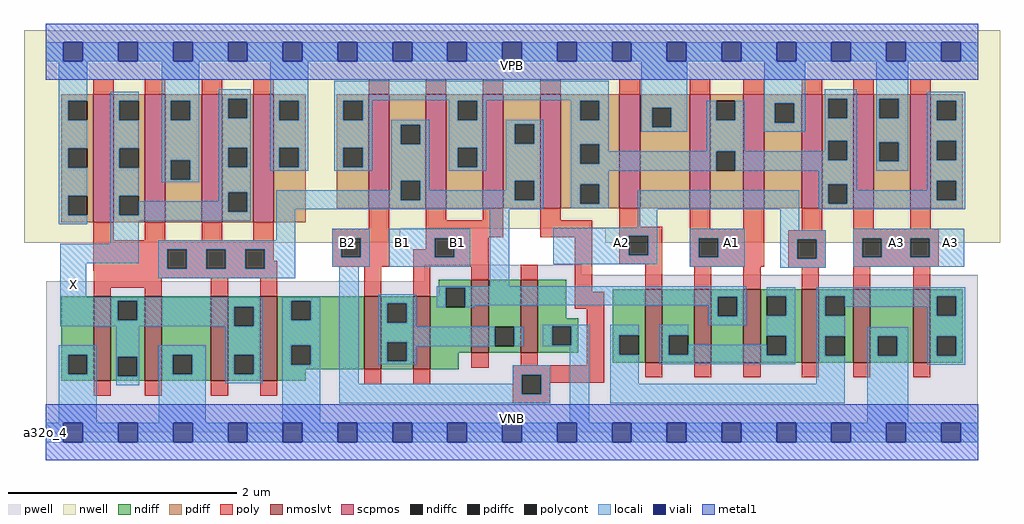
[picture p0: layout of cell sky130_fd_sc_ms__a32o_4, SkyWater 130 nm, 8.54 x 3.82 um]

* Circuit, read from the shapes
.subckt sky130_fd_sc_ms__a32o_4 A1 A2 A3 B1 B2 VGND VNB VPB VPWR X
XM1 X n1 VGND VNB sky130_fd_pr__nfet_01v8_lvt w=0.74 l=0.15 m=4
XM2 n2 B2 VGND VNB sky130_fd_pr__nfet_01v8_lvt w=0.64 l=0.15 m=2
XM3 n1 B1 n2 VNB sky130_fd_pr__nfet_01v8_lvt w=0.64 l=0.15 m=2
XM4 n3 A2 n4 VNB sky130_fd_pr__nfet_01v8_lvt w=0.64 l=0.15 m=2
XM5 n1 A1 n3 VNB sky130_fd_pr__nfet_01v8_lvt w=0.64 l=0.15 m=2
XM6 VGND A3 n4 VNB sky130_fd_pr__nfet_01v8_lvt w=0.64 l=0.15 m=2
XM7 X n1 VPWR VPB sky130_fd_pr__pfet_01v8 w=1.12 l=0.18 m=4
XM8 n1 B2 n5 VPB sky130_fd_pr__pfet_01v8 w=1 l=0.18 m=2
XM9 n5 B1 n1 VPB sky130_fd_pr__pfet_01v8 w=1 l=0.18 m=2
XM10 VPWR A2 n5 VPB sky130_fd_pr__pfet_01v8 w=1 l=0.18 m=2
XM11 n5 A1 VPWR VPB sky130_fd_pr__pfet_01v8 w=1 l=0.18 m=2
XM12 VPWR A3 n5 VPB sky130_fd_pr__pfet_01v8 w=1 l=0.18 m=2
.ends

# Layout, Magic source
magic
tech sky130A
magscale 1 2
<< nwell >>
rect -38 356 1670 704
rect -38 332 620 356
rect 979 332 1670 356
<< pwell >>
rect 662 276 937 293
rect 662 264 1631 276
rect 1 49 1631 264
rect 0 0 1632 49
<< scpmos >>
rect 83 368 119 592
rect 173 368 209 592
rect 273 368 309 592
rect 363 368 399 592
rect 565 392 601 592
rect 665 392 701 592
rect 765 392 801 592
rect 865 392 901 592
rect 1004 392 1040 592
rect 1127 392 1163 592
rect 1221 392 1257 592
rect 1323 392 1359 592
rect 1413 392 1449 592
rect 1513 392 1549 592
<< nmoslvt >>
rect 84 90 114 238
rect 173 90 203 238
rect 289 90 319 238
rect 375 90 405 238
rect 557 110 587 238
rect 643 110 673 238
rect 745 139 775 267
rect 831 139 861 267
rect 1049 122 1079 250
rect 1135 122 1165 250
rect 1221 122 1251 250
rect 1323 122 1353 250
rect 1413 122 1443 250
rect 1518 122 1548 250
<< ndiff >>
rect 688 253 745 267
rect 688 238 700 253
rect 27 136 84 238
rect 27 102 39 136
rect 73 102 84 136
rect 27 90 84 102
rect 114 230 173 238
rect 114 196 126 230
rect 160 196 173 230
rect 114 132 173 196
rect 114 98 126 132
rect 160 98 173 132
rect 114 90 173 98
rect 203 136 289 238
rect 203 102 222 136
rect 256 102 289 136
rect 203 90 289 102
rect 319 220 375 238
rect 319 186 330 220
rect 364 186 375 220
rect 319 136 375 186
rect 319 102 330 136
rect 364 102 375 136
rect 319 90 375 102
rect 405 230 557 238
rect 405 196 430 230
rect 464 196 557 230
rect 405 152 557 196
rect 405 118 430 152
rect 464 118 557 152
rect 405 110 557 118
rect 587 226 643 238
rect 587 192 598 226
rect 632 192 643 226
rect 587 158 643 192
rect 587 124 598 158
rect 632 124 643 158
rect 587 110 643 124
rect 673 219 700 238
rect 734 219 745 253
rect 673 139 745 219
rect 775 185 831 267
rect 775 151 786 185
rect 820 151 831 185
rect 775 139 831 151
rect 861 200 911 267
rect 861 186 932 200
rect 861 152 886 186
rect 920 152 932 186
rect 861 139 932 152
rect 673 110 723 139
rect 992 170 1049 250
rect 992 136 1004 170
rect 1038 136 1049 170
rect 992 122 1049 136
rect 1079 170 1135 250
rect 1079 136 1090 170
rect 1124 136 1135 170
rect 1079 122 1135 136
rect 1165 237 1221 250
rect 1165 203 1176 237
rect 1210 203 1221 237
rect 1165 122 1221 203
rect 1251 238 1323 250
rect 1251 204 1262 238
rect 1296 204 1323 238
rect 1251 169 1323 204
rect 1251 135 1262 169
rect 1296 135 1323 169
rect 1251 122 1323 135
rect 1353 238 1413 250
rect 1353 204 1364 238
rect 1398 204 1413 238
rect 1353 168 1413 204
rect 1353 134 1364 168
rect 1398 134 1413 168
rect 1353 122 1413 134
rect 1443 168 1518 250
rect 1443 134 1456 168
rect 1490 134 1518 168
rect 1443 122 1518 134
rect 1548 238 1605 250
rect 1548 204 1559 238
rect 1593 204 1605 238
rect 1548 168 1605 204
rect 1548 134 1559 168
rect 1593 134 1605 168
rect 1548 122 1605 134
rect 405 90 455 110
<< pdiff >>
rect 27 580 83 592
rect 27 546 39 580
rect 73 546 83 580
rect 27 497 83 546
rect 27 463 39 497
rect 73 463 83 497
rect 27 414 83 463
rect 27 380 39 414
rect 73 380 83 414
rect 27 368 83 380
rect 119 580 173 592
rect 119 546 129 580
rect 163 546 173 580
rect 119 497 173 546
rect 119 463 129 497
rect 163 463 173 497
rect 119 414 173 463
rect 119 380 129 414
rect 163 380 173 414
rect 119 368 173 380
rect 209 580 273 592
rect 209 546 219 580
rect 253 546 273 580
rect 209 476 273 546
rect 209 442 219 476
rect 253 442 273 476
rect 209 368 273 442
rect 309 584 363 592
rect 309 550 319 584
rect 353 550 363 584
rect 309 498 363 550
rect 309 464 319 498
rect 353 464 363 498
rect 309 420 363 464
rect 309 386 319 420
rect 353 386 363 420
rect 309 368 363 386
rect 399 580 455 592
rect 399 546 409 580
rect 443 546 455 580
rect 399 498 455 546
rect 399 464 409 498
rect 443 464 455 498
rect 399 368 455 464
rect 509 580 565 592
rect 509 546 521 580
rect 555 546 565 580
rect 509 498 565 546
rect 509 464 521 498
rect 555 464 565 498
rect 509 392 565 464
rect 601 538 665 592
rect 601 504 621 538
rect 655 504 665 538
rect 601 440 665 504
rect 601 406 621 440
rect 655 406 665 440
rect 601 392 665 406
rect 701 580 765 592
rect 701 546 721 580
rect 755 546 765 580
rect 701 498 765 546
rect 701 464 721 498
rect 755 464 765 498
rect 701 392 765 464
rect 801 539 865 592
rect 801 505 821 539
rect 855 505 865 539
rect 801 440 865 505
rect 801 406 821 440
rect 855 406 865 440
rect 801 392 865 406
rect 901 580 1004 592
rect 901 546 935 580
rect 969 546 1004 580
rect 901 504 1004 546
rect 901 470 935 504
rect 969 470 1004 504
rect 901 434 1004 470
rect 901 400 935 434
rect 969 400 1004 434
rect 901 392 1004 400
rect 1040 568 1127 592
rect 1040 534 1061 568
rect 1095 534 1127 568
rect 1040 392 1127 534
rect 1163 580 1221 592
rect 1163 546 1173 580
rect 1207 546 1221 580
rect 1163 492 1221 546
rect 1163 458 1173 492
rect 1207 458 1221 492
rect 1163 392 1221 458
rect 1257 576 1323 592
rect 1257 542 1276 576
rect 1310 542 1323 576
rect 1257 392 1323 542
rect 1359 584 1413 592
rect 1359 550 1369 584
rect 1403 550 1413 584
rect 1359 510 1413 550
rect 1359 476 1369 510
rect 1403 476 1413 510
rect 1359 434 1413 476
rect 1359 400 1369 434
rect 1403 400 1413 434
rect 1359 392 1413 400
rect 1449 584 1513 592
rect 1449 550 1459 584
rect 1493 550 1513 584
rect 1449 508 1513 550
rect 1449 474 1459 508
rect 1493 474 1513 508
rect 1449 392 1513 474
rect 1549 580 1605 592
rect 1549 546 1559 580
rect 1593 546 1605 580
rect 1549 510 1605 546
rect 1549 476 1559 510
rect 1593 476 1605 510
rect 1549 440 1605 476
rect 1549 406 1559 440
rect 1593 406 1605 440
rect 1549 392 1605 406
<< ndiffc >>
rect 39 102 73 136
rect 126 196 160 230
rect 126 98 160 132
rect 222 102 256 136
rect 330 186 364 220
rect 330 102 364 136
rect 430 196 464 230
rect 430 118 464 152
rect 598 192 632 226
rect 598 124 632 158
rect 700 219 734 253
rect 786 151 820 185
rect 886 152 920 186
rect 1004 136 1038 170
rect 1090 136 1124 170
rect 1176 203 1210 237
rect 1262 204 1296 238
rect 1262 135 1296 169
rect 1364 204 1398 238
rect 1364 134 1398 168
rect 1456 134 1490 168
rect 1559 204 1593 238
rect 1559 134 1593 168
<< pdiffc >>
rect 39 546 73 580
rect 39 463 73 497
rect 39 380 73 414
rect 129 546 163 580
rect 129 463 163 497
rect 129 380 163 414
rect 219 546 253 580
rect 219 442 253 476
rect 319 550 353 584
rect 319 464 353 498
rect 319 386 353 420
rect 409 546 443 580
rect 409 464 443 498
rect 521 546 555 580
rect 521 464 555 498
rect 621 504 655 538
rect 621 406 655 440
rect 721 546 755 580
rect 721 464 755 498
rect 821 505 855 539
rect 821 406 855 440
rect 935 546 969 580
rect 935 470 969 504
rect 935 400 969 434
rect 1061 534 1095 568
rect 1173 546 1207 580
rect 1173 458 1207 492
rect 1276 542 1310 576
rect 1369 550 1403 584
rect 1369 476 1403 510
rect 1369 400 1403 434
rect 1459 550 1493 584
rect 1459 474 1493 508
rect 1559 546 1593 580
rect 1559 476 1593 510
rect 1559 406 1593 440
<< poly >>
rect 83 592 119 618
rect 173 592 209 618
rect 273 592 309 618
rect 363 592 399 618
rect 565 592 601 618
rect 665 592 701 618
rect 765 592 801 618
rect 865 592 901 618
rect 1004 592 1040 618
rect 1127 592 1163 618
rect 1221 592 1257 618
rect 1323 592 1359 618
rect 1413 592 1449 618
rect 1513 592 1549 618
rect 83 336 119 368
rect 173 336 209 368
rect 273 336 309 368
rect 363 336 399 368
rect 565 356 601 392
rect 83 320 399 336
rect 83 286 213 320
rect 247 286 281 320
rect 315 286 349 320
rect 383 300 399 320
rect 501 340 601 356
rect 501 306 517 340
rect 551 306 601 340
rect 665 371 701 392
rect 765 371 801 392
rect 665 341 801 371
rect 865 371 901 392
rect 865 341 956 371
rect 665 340 775 341
rect 665 320 681 340
rect 383 286 405 300
rect 501 290 601 306
rect 643 306 681 320
rect 715 306 775 340
rect 643 290 775 306
rect 83 283 405 286
rect 84 270 405 283
rect 84 253 203 270
rect 84 238 114 253
rect 173 238 203 253
rect 289 238 319 270
rect 375 238 405 270
rect 557 238 587 290
rect 643 238 673 290
rect 745 267 775 290
rect 831 267 861 293
rect 926 246 956 341
rect 1004 360 1040 392
rect 1004 344 1079 360
rect 1004 310 1020 344
rect 1054 310 1079 344
rect 1004 294 1079 310
rect 1049 250 1079 294
rect 1127 356 1163 392
rect 1221 356 1257 392
rect 1127 340 1257 356
rect 1323 354 1359 392
rect 1413 356 1449 392
rect 1513 356 1549 392
rect 1127 306 1143 340
rect 1177 306 1257 340
rect 1127 290 1257 306
rect 1299 338 1365 354
rect 1299 304 1315 338
rect 1349 304 1365 338
rect 1135 250 1165 290
rect 1221 250 1251 290
rect 1299 288 1365 304
rect 1413 340 1563 356
rect 1413 306 1429 340
rect 1463 306 1513 340
rect 1547 306 1563 340
rect 1413 290 1563 306
rect 1323 250 1353 288
rect 1413 250 1443 290
rect 1518 250 1548 290
rect 926 216 977 246
rect 745 113 775 139
rect 831 117 861 139
rect 947 117 977 216
rect 84 64 114 90
rect 173 64 203 90
rect 289 64 319 90
rect 375 64 405 90
rect 557 84 587 110
rect 643 84 673 110
rect 817 101 977 117
rect 817 67 833 101
rect 867 87 977 101
rect 1049 96 1079 122
rect 1135 96 1165 122
rect 1221 96 1251 122
rect 1323 96 1353 122
rect 1413 96 1443 122
rect 1518 96 1548 122
rect 867 67 883 87
rect 817 51 883 67
<< polycont >>
rect 213 286 247 320
rect 281 286 315 320
rect 349 286 383 320
rect 517 306 551 340
rect 681 306 715 340
rect 1020 310 1054 344
rect 1143 306 1177 340
rect 1315 304 1349 338
rect 1429 306 1463 340
rect 1513 306 1547 340
rect 833 67 867 101
<< locali >>
rect 0 649 31 683
rect 65 649 127 683
rect 161 649 223 683
rect 257 649 319 683
rect 353 649 415 683
rect 449 649 511 683
rect 545 649 607 683
rect 641 649 703 683
rect 737 649 799 683
rect 833 649 895 683
rect 929 649 991 683
rect 1025 649 1087 683
rect 1121 649 1183 683
rect 1217 649 1279 683
rect 1313 649 1375 683
rect 1409 649 1471 683
rect 1505 649 1567 683
rect 1601 649 1632 683
rect 23 580 73 649
rect 23 546 39 580
rect 23 497 73 546
rect 23 463 39 497
rect 23 414 73 463
rect 23 380 39 414
rect 23 364 73 380
rect 113 580 163 596
rect 113 546 129 580
rect 113 497 163 546
rect 113 463 129 497
rect 113 414 163 463
rect 203 580 269 649
rect 203 546 219 580
rect 253 546 269 580
rect 203 476 269 546
rect 203 442 219 476
rect 253 442 269 476
rect 203 438 269 442
rect 303 584 359 600
rect 303 550 319 584
rect 353 550 359 584
rect 303 498 359 550
rect 303 464 319 498
rect 353 464 359 498
rect 113 380 129 414
rect 303 420 359 464
rect 393 580 459 649
rect 393 546 409 580
rect 443 546 459 580
rect 393 498 459 546
rect 393 464 409 498
rect 443 464 459 498
rect 393 458 459 464
rect 505 581 985 615
rect 505 580 571 581
rect 505 546 521 580
rect 555 546 571 580
rect 705 580 771 581
rect 505 498 571 546
rect 505 464 521 498
rect 555 464 571 498
rect 505 458 571 464
rect 605 538 671 547
rect 605 504 621 538
rect 655 504 671 538
rect 605 440 671 504
rect 705 546 721 580
rect 755 546 771 580
rect 919 580 985 581
rect 705 498 771 546
rect 705 464 721 498
rect 755 464 771 498
rect 705 458 771 464
rect 805 539 871 547
rect 805 505 821 539
rect 855 505 871 539
rect 605 424 621 440
rect 303 404 319 420
rect 163 386 319 404
rect 353 386 359 420
rect 163 380 359 386
rect 113 370 359 380
rect 403 406 621 424
rect 655 424 671 440
rect 805 440 871 505
rect 805 424 821 440
rect 655 406 821 424
rect 855 406 871 440
rect 403 390 871 406
rect 919 546 935 580
rect 969 546 985 580
rect 919 504 985 546
rect 1042 568 1123 649
rect 1042 534 1061 568
rect 1095 534 1123 568
rect 1042 526 1123 534
rect 1157 546 1173 580
rect 1207 546 1223 580
rect 919 470 935 504
rect 969 492 985 504
rect 1157 492 1223 546
rect 1257 576 1329 649
rect 1257 542 1276 576
rect 1310 542 1329 576
rect 1257 526 1329 542
rect 1363 584 1419 600
rect 1363 550 1369 584
rect 1403 550 1419 584
rect 1363 510 1419 550
rect 1363 492 1369 510
rect 969 470 1173 492
rect 919 458 1173 470
rect 1207 476 1369 492
rect 1403 476 1419 510
rect 1207 458 1419 476
rect 1453 584 1509 649
rect 1453 550 1459 584
rect 1493 550 1509 584
rect 1453 508 1509 550
rect 1453 474 1459 508
rect 1493 474 1509 508
rect 1453 458 1509 474
rect 1543 580 1609 596
rect 1543 546 1559 580
rect 1593 546 1609 580
rect 1543 510 1609 546
rect 1543 476 1559 510
rect 1593 476 1609 510
rect 919 434 985 458
rect 919 400 935 434
rect 969 400 985 434
rect 1353 434 1419 458
rect 919 392 985 400
rect 1036 390 1319 424
rect 1353 400 1369 434
rect 1403 424 1419 434
rect 1543 440 1609 476
rect 1543 424 1559 440
rect 1403 406 1559 424
rect 1593 406 1609 440
rect 1403 400 1609 406
rect 1353 390 1609 400
rect 113 330 163 370
rect 403 336 437 390
rect 25 296 163 330
rect 197 320 437 336
rect 25 236 71 296
rect 197 286 213 320
rect 247 286 281 320
rect 315 286 349 320
rect 383 286 437 320
rect 501 340 567 356
rect 501 306 517 340
rect 551 306 567 340
rect 501 290 567 306
rect 601 340 743 356
rect 601 306 681 340
rect 715 306 743 340
rect 601 290 743 306
rect 197 270 437 286
rect 25 230 380 236
rect 25 196 126 230
rect 160 220 380 230
rect 160 196 330 220
rect 25 186 330 196
rect 364 186 380 220
rect 23 136 89 152
rect 23 102 39 136
rect 73 102 89 136
rect 23 17 89 102
rect 123 132 164 186
rect 123 98 126 132
rect 160 98 164 132
rect 123 82 164 98
rect 198 136 280 152
rect 198 102 222 136
rect 256 102 280 136
rect 198 17 280 102
rect 314 136 380 186
rect 314 102 330 136
rect 364 102 380 136
rect 314 86 380 102
rect 414 230 480 236
rect 414 196 430 230
rect 464 196 480 230
rect 414 152 480 196
rect 414 118 430 152
rect 464 118 480 152
rect 414 17 480 118
rect 514 85 548 290
rect 777 256 811 390
rect 1036 358 1070 390
rect 888 344 1070 358
rect 888 310 1020 344
rect 1054 310 1070 344
rect 888 294 1070 310
rect 1127 340 1223 356
rect 1127 306 1143 340
rect 1177 306 1223 340
rect 1127 290 1223 306
rect 1285 354 1319 390
rect 1285 338 1365 354
rect 1285 304 1315 338
rect 1349 304 1365 338
rect 1285 288 1365 304
rect 1413 340 1607 356
rect 1413 306 1429 340
rect 1463 306 1513 340
rect 1547 306 1607 340
rect 1413 290 1607 306
rect 684 253 1226 256
rect 582 226 648 242
rect 582 192 598 226
rect 632 192 648 226
rect 684 219 700 253
rect 734 237 1226 253
rect 734 222 1176 237
rect 734 219 750 222
rect 582 185 648 192
rect 1160 203 1176 222
rect 1210 203 1226 237
rect 870 186 951 188
rect 582 158 786 185
rect 582 124 598 158
rect 632 151 786 158
rect 820 151 836 185
rect 870 152 886 186
rect 920 152 951 186
rect 870 151 951 152
rect 632 124 648 151
rect 582 119 648 124
rect 817 101 883 117
rect 817 85 833 101
rect 514 67 833 85
rect 867 67 883 101
rect 514 51 883 67
rect 917 17 951 151
rect 988 170 1038 188
rect 988 136 1004 170
rect 988 85 1038 136
rect 1074 170 1124 188
rect 1160 187 1226 203
rect 1262 238 1312 254
rect 1296 204 1312 238
rect 1074 136 1090 170
rect 1262 169 1312 204
rect 1124 136 1262 153
rect 1074 135 1262 136
rect 1296 135 1312 169
rect 1074 119 1312 135
rect 1348 238 1609 254
rect 1348 204 1364 238
rect 1398 220 1559 238
rect 1348 168 1398 204
rect 1543 204 1559 220
rect 1593 204 1609 238
rect 1348 134 1364 168
rect 1348 85 1398 134
rect 988 51 1398 85
rect 1438 168 1509 184
rect 1438 134 1456 168
rect 1490 134 1509 168
rect 1438 17 1509 134
rect 1543 168 1609 204
rect 1543 134 1559 168
rect 1593 134 1609 168
rect 1543 118 1609 134
rect 0 -17 31 17
rect 65 -17 127 17
rect 161 -17 223 17
rect 257 -17 319 17
rect 353 -17 415 17
rect 449 -17 511 17
rect 545 -17 607 17
rect 641 -17 703 17
rect 737 -17 799 17
rect 833 -17 895 17
rect 929 -17 991 17
rect 1025 -17 1087 17
rect 1121 -17 1183 17
rect 1217 -17 1279 17
rect 1313 -17 1375 17
rect 1409 -17 1471 17
rect 1505 -17 1567 17
rect 1601 -17 1632 17
<< viali >>
rect 31 649 65 683
rect 127 649 161 683
rect 223 649 257 683
rect 319 649 353 683
rect 415 649 449 683
rect 511 649 545 683
rect 607 649 641 683
rect 703 649 737 683
rect 799 649 833 683
rect 895 649 929 683
rect 991 649 1025 683
rect 1087 649 1121 683
rect 1183 649 1217 683
rect 1279 649 1313 683
rect 1375 649 1409 683
rect 1471 649 1505 683
rect 1567 649 1601 683
rect 31 -17 65 17
rect 127 -17 161 17
rect 223 -17 257 17
rect 319 -17 353 17
rect 415 -17 449 17
rect 511 -17 545 17
rect 607 -17 641 17
rect 703 -17 737 17
rect 799 -17 833 17
rect 895 -17 929 17
rect 991 -17 1025 17
rect 1087 -17 1121 17
rect 1183 -17 1217 17
rect 1279 -17 1313 17
rect 1375 -17 1409 17
rect 1471 -17 1505 17
rect 1567 -17 1601 17
<< metal1 >>
rect 0 683 1632 715
rect 0 649 31 683
rect 65 649 127 683
rect 161 649 223 683
rect 257 649 319 683
rect 353 649 415 683
rect 449 649 511 683
rect 545 649 607 683
rect 641 649 703 683
rect 737 649 799 683
rect 833 649 895 683
rect 929 649 991 683
rect 1025 649 1087 683
rect 1121 649 1183 683
rect 1217 649 1279 683
rect 1313 649 1375 683
rect 1409 649 1471 683
rect 1505 649 1567 683
rect 1601 649 1632 683
rect 0 617 1632 649
rect 0 17 1632 49
rect 0 -17 31 17
rect 65 -17 127 17
rect 161 -17 223 17
rect 257 -17 319 17
rect 353 -17 415 17
rect 449 -17 511 17
rect 545 -17 607 17
rect 641 -17 703 17
rect 737 -17 799 17
rect 833 -17 895 17
rect 929 -17 991 17
rect 1025 -17 1087 17
rect 1121 -17 1183 17
rect 1217 -17 1279 17
rect 1313 -17 1375 17
rect 1409 -17 1471 17
rect 1505 -17 1567 17
rect 1601 -17 1632 17
rect 0 -49 1632 -17
<< labels >>
flabel pwell s 0 0 1632 49 0 FreeSans 200 0 0 0 VNB
port 7 nsew ground bidirectional
flabel nwell s 0 617 1632 666 0 FreeSans 200 0 0 0 VPB
port 8 nsew power bidirectional
rlabel comment s 0 0 0 0 4 a32o_4
flabel metal1 s 0 617 1632 666 0 FreeSans 340 0 0 0 VPWR
port 9 nsew power bidirectional
flabel metal1 s 0 0 1632 49 0 FreeSans 340 0 0 0 VGND
port 6 nsew ground bidirectional
flabel locali s 607 316 641 350 0 FreeSans 340 0 0 0 B1
port 4 nsew signal input
flabel locali s 703 316 737 350 0 FreeSans 340 0 0 0 B1
port 4 nsew signal input
flabel locali s 1471 316 1505 350 0 FreeSans 340 0 0 0 A3
port 3 nsew signal input
flabel locali s 1567 316 1601 350 0 FreeSans 340 0 0 0 A3
port 3 nsew signal input
flabel locali s 1183 316 1217 350 0 FreeSans 340 0 0 0 A1
port 1 nsew signal input
flabel locali s 31 242 65 276 0 FreeSans 340 0 0 0 X
port 10 nsew signal output
flabel locali s 511 316 545 350 0 FreeSans 340 0 0 0 B2
port 5 nsew signal input
flabel locali s 991 316 1025 350 0 FreeSans 340 0 0 0 A2
port 2 nsew signal input
<< properties >>
string LEFsite unit
string LEFclass CORE
string FIXED_BBOX 0 0 1632 666
string GDS_FILE $PDKPATH/libs.ref/sky130_fd_sc_ms/gds/sky130_fd_sc_ms.gds
string LEFsymmetry X Y
string GDS_END 1032676
string GDS_START 1019704
<< end >>
